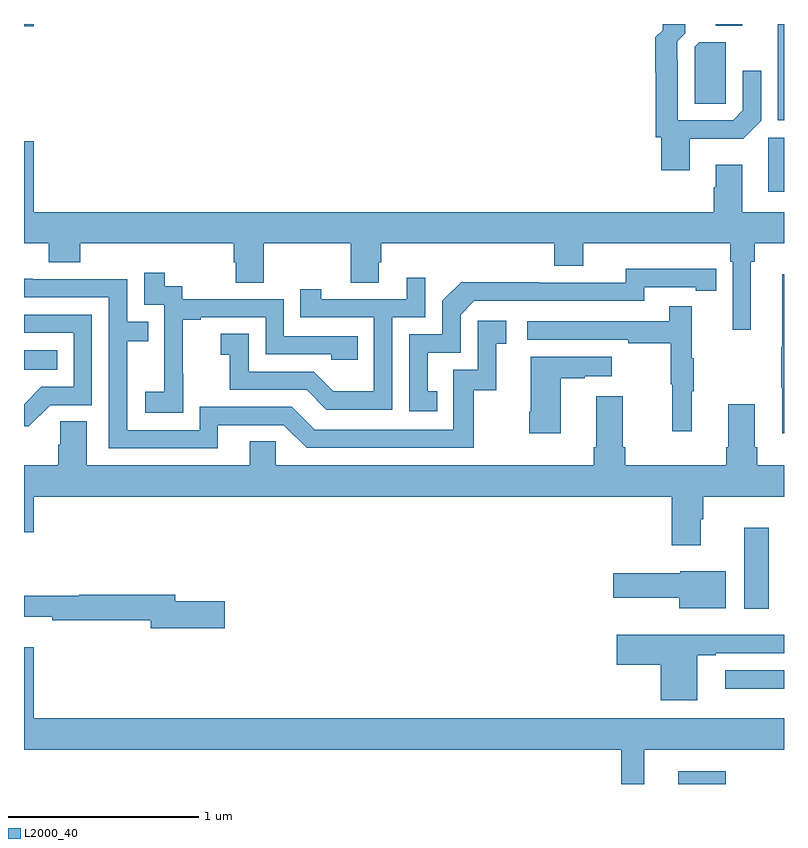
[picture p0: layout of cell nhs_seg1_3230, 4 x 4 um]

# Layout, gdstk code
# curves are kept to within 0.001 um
import gdstk
lib = gdstk.Library(unit=1e-6, precision=1e-09)
def R(c, l, rs):  # rectangles x0, y0, x1, y1
    for r in rs: c.add(gdstk.rectangle(r[:2], r[2:], *l))
def P(c, l, *ps):  # polygons
    for p in ps: c.add(gdstk.Polygon(p, *l))
L2000_40 = (2000, 40)

nhs_seg1_3230 = lib.new_cell('nhs_seg1_3230')
R(nhs_seg1_3230, L2000_40, [(288.443,570.199,288.694,570.265), (288.69,570.701,289,570.798), (288.791,571.122,288.919,571.549), (285,572.378,285.176,572.482), (288.917,573.315,289,573.6), (288.968,573.692,289,574.199), (285,574.188,285.052,574.199), (288.641,574.189,288.781,574.199)])
P(nhs_seg1_3230, L2000_40, [(288.505,573.596),(288.785,573.596),(288.879,573.69),(288.879,573.952),(288.783,573.952),(288.783,573.744),(288.732,573.693),(288.441,573.693),(288.441,574.007),(288.438,574.007),(288.438,574.107),(288.481,574.15),(288.481,574.199),(288.361,574.199),(288.361,574.167),(288.323,574.128),(288.323,573.946),(288.325,573.946),(288.325,573.603),(288.353,573.603),(288.353,573.429),(288.505,573.429)],
  [(288.693,573.889),(288.694,573.889),(288.694,574.104),(288.555,574.104),(288.531,574.08),(288.531,573.778),(288.693,573.778)],
  [(285.052,573.583),(285,573.583),(285,573.044),(285.131,573.044),(285.131,572.945),(285.296,572.945),(285.296,573.044),(286.103,573.044),(286.103,572.946),(286.115,572.946),(286.115,572.836),(286.263,572.836),(286.263,573.044),(286.72,573.044),(286.72,572.836),(286.867,572.836),(286.867,572.946),(286.88,572.946),(286.88,573.044),(287.792,573.044),(287.792,572.927),(287.944,572.927),(287.944,573.044),(288.716,573.044),(288.716,572.948),(288.729,572.948),(288.729,572.589),(288.826,572.589),(288.826,572.948),(288.845,572.948),(288.845,573.044),(289,573.044),(289,573.208),(288.781,573.208),(288.781,573.457),(288.641,573.457),(288.641,573.341),(288.629,573.341),(288.629,573.208),(285.052,573.208)],
  [(287.174,572.265),(287.125,572.265),(287.125,572.469),(287.298,572.469),(287.298,572.67),(287.37,572.742),(288.264,572.742),(288.264,572.814),(288.536,572.814),(288.536,572.794),(288.644,572.794),(288.644,572.91),(288.168,572.911),(288.168,572.838),(287.708,572.838),(287.708,572.84),(287.3,572.84),(287.202,572.742),(287.202,572.565),(287.028,572.565),(287.028,572.16),(287.174,572.16)],
  [(285.837,572.359),(285.836,572.359),(285.836,572.643),(285.931,572.643),(285.931,572.655),(286.272,572.655),(286.272,572.46),(286.617,572.46),(286.617,572.433),(286.757,572.433),(286.757,572.556),(286.368,572.556),(286.368,572.751),(285.834,572.751),(285.834,572.82),(285.742,572.82),(285.742,572.89),(285.633,572.89),(285.633,572.721),(285.738,572.721),(285.738,572.492),(285.737,572.492),(285.737,572.263),(285.639,572.263),(285.639,572.153),(285.837,572.153)],
  [(289,572.881),(288.992,572.881),(288.992,572.501),(288.985,572.501),(288.985,572.284),(288.992,572.284),(288.992,572.046),(289,572.046)],
  [(286.938,572.655),(287.112,572.655),(287.112,572.863),(287.015,572.863),(287.015,572.751),(286.564,572.751),(286.564,572.803),(286.453,572.803),(286.453,572.655),(286.842,572.655),(286.842,572.266),(286.628,572.266),(286.524,572.37),(286.182,572.37),(286.182,572.569),(286.035,572.569),(286.035,572.459),(286.084,572.459),(286.084,572.274),(286.487,572.274),(286.592,572.169),(286.938,572.169)],
  [(286.021,572.088),(286.368,572.088),(286.488,571.968),(287.368,571.968),(287.368,572.271),(287.486,572.271),(287.486,572.517),(287.539,572.517),(287.539,572.638),(287.388,572.638),(287.388,572.379),(287.259,572.379),(287.259,572.064),(286.53,572.064),(286.41,572.184),(285.924,572.184),(285.924,572.061),(285.543,572.061),(285.543,572.53),(285.653,572.53),(285.653,572.631),(285.543,572.631),(285.543,572.856),(285.047,572.856),(285.047,572.858),(285,572.858),(285,572.76),(285.447,572.76),(285.447,571.965),(286.021,571.965)],
  [(288.515,572.267),(288.526,572.267),(288.526,572.441),(288.515,572.441),(288.515,572.713),(288.397,572.713),(288.397,572.634),(287.649,572.634),(287.649,572.538),(288.181,572.538),(288.181,572.518),(288.405,572.518),(288.405,572.304),(288.412,572.304),(288.412,572.055),(288.515,572.055)],
  [(285.138,572.193),(285.357,572.193),(285.357,572.67),(285,572.67),(285,572.574),(285.261,572.574),(285.261,572.289),(285.092,572.289),(285,572.197),(285,572.081),(285.025,572.081)],
  [(287.824,572.335),(287.951,572.335),(287.951,572.345),(288.094,572.345),(288.094,572.449),(287.666,572.449),(287.666,572.158),(287.659,572.158),(287.659,572.046),(287.824,572.046)],
  [(288.562,571.592),(288.575,571.592),(288.575,571.712),(289,571.712),(289,571.876),(288.86,571.876),(288.86,571.972),(288.847,571.972),(288.847,572.197),(288.707,572.197),(288.707,571.972),(288.695,571.972),(288.695,571.876),(288.164,571.876),(288.164,571.972),(288.151,571.972),(288.151,572.239),(288.011,572.239),(288.011,571.972),(287.999,571.972),(287.999,571.876),(286.326,571.876),(286.326,572.003),(286.187,572.003),(286.187,571.876),(285.331,571.876),(285.331,572.108),(285.192,572.108),(285.192,571.985),(285.179,571.985),(285.179,571.876),(285,571.876),(285,571.524),(285.052,571.524),(285.052,571.712),(288.41,571.712),(288.41,571.455),(288.562,571.455)],
  [(288.694,571.318),(288.453,571.318),(288.453,571.308),(288.102,571.308),(288.102,571.178),(288.449,571.178),(288.449,571.124),(288.694,571.124)],
  [(286.057,571.16),(285.796,571.16),(285.796,571.196),(285.292,571.196),(285.292,571.189),(285,571.189),(285,571.079),(285.148,571.079),(285.148,571.06),(285.668,571.06),(285.668,571.018),(286.057,571.018)],
  [(288.544,570.876),(288.64,570.876),(288.64,570.888),(289,570.888),(289,570.985),(288.12,570.985),(288.12,570.827),(288.35,570.827),(288.35,570.641),(288.544,570.641)],
  [(288.265,570.38),(289,570.38),(289,570.544),(285.052,570.544),(285.052,570.919),(285,570.919),(285,570.38),(288.144,570.38),(288.144,570.199),(288.265,570.199)])

lib.write_gds('nhs_seg1_3230.gds')
